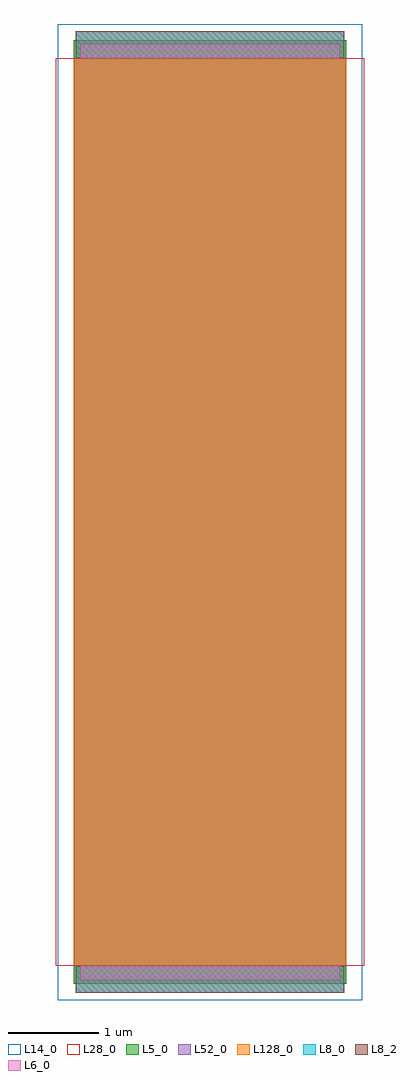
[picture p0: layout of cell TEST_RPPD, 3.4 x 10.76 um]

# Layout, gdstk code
import gdstk
lib = gdstk.Library(unit=1e-6, precision=1e-09)
def R(c, l, rs):  # rectangles x0, y0, x1, y1
    for r in rs: c.add(gdstk.rectangle(r[:2], r[2:], *l))
L5_0 = (5, 0)
L6_0 = (6, 0)
L8_0 = (8, 0)
L8_2 = (8, 2)
L14_0 = (14, 0)
L28_0 = (28, 0)
L52_0 = (52, 0)
L128_0 = (128, 0)

test_rppd = lib.new_cell('TEST_RPPD')
R(test_rppd, L5_0, [(0,-0.2,3,0), (0,0,3,10), (0,10,3,10.2)])
R(test_rppd, L6_0, [(0.07,-0.16,2.93,0), (0.07,10,2.93,10.16)])
R(test_rppd, L8_0, [(0.02,-0.3,2.98,0), (0.02,10,2.98,10.3)])
R(test_rppd, L8_2, [(0.02,-0.3,2.98,0), (0.02,10,2.98,10.3)])
R(test_rppd, L14_0, [(-0.18,-0.38,3.18,10.38)])
R(test_rppd, L28_0, [(-0.2,0,3.2,10)])
R(test_rppd, L52_0, [(0,0,3,10)])
R(test_rppd, L128_0, [(0,0,3,10)])

lib.write_gds('TEST_RPPD.gds')
